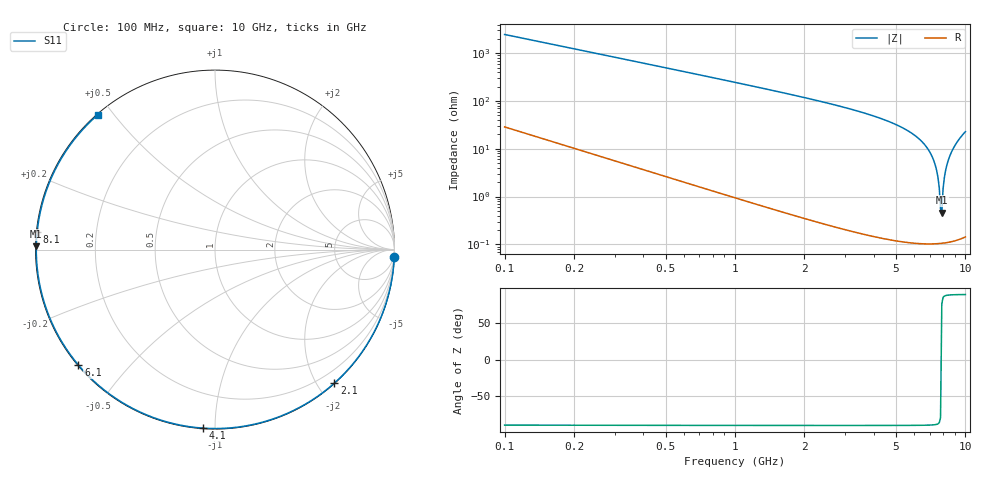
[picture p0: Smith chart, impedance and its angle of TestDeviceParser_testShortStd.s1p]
! File created by SignalIntegrity v1.1.13: Signal and Power Integrity Tools
! https://github.com/TeledyneLeCroy/SignalIntegrity
# MHz S MA R 50.0
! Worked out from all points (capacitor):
!   100 points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, 100 MHz to 10 GHz, reference 50 ohm
!   read as one part to ground: C = 641 fF near 100 MHz
!   lowest |Z| = 464 mohm at 7.9 GHz (marker M1)
!   series resonance near 7.855 GHz, so ESL is about 640 pH
!   S11 on the Smith chart (normalised r, x): 100 MHz: 1, -49; 2.1 GHz: 0.01, -2.24; 4.1 GHz: 0.00, -0.93; 6.1 GHz: 0.00, -0.37; 8.1 GHz: 0.00, +0.05; 10 GHz: 0.00, +0.46
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100  0.9995 -2.3
400  0.9991 -9.2
700  0.9988 -16.1
1000  0.9985 -23.0
1400  0.9982 -32.1
1700  0.9981 -39.0
2100  0.9978 -48.2
2600  0.9976 -59.6
3000  0.9974 -68.8
3300  0.9973 -75.7
3600  0.9972 -82.5
3900  0.997 -89.4
4100  0.997 -94.0
4600  0.9968 -105.5
5100  0.9966 -116.9
5600  0.9965 -128.4
6100  0.9963 -139.8
6300  0.9962 -144.4
6700  0.9961 -153.6
7000  0.996 -160.4
7300  0.996 -167.3
7600  0.9959 -174.2
7900  0.9958 179.0
8100  0.9957 174.4
8400  0.9957 167.5
8800  0.9956 158.4
9400  0.9954 144.6
10000  0.9953 130.9
